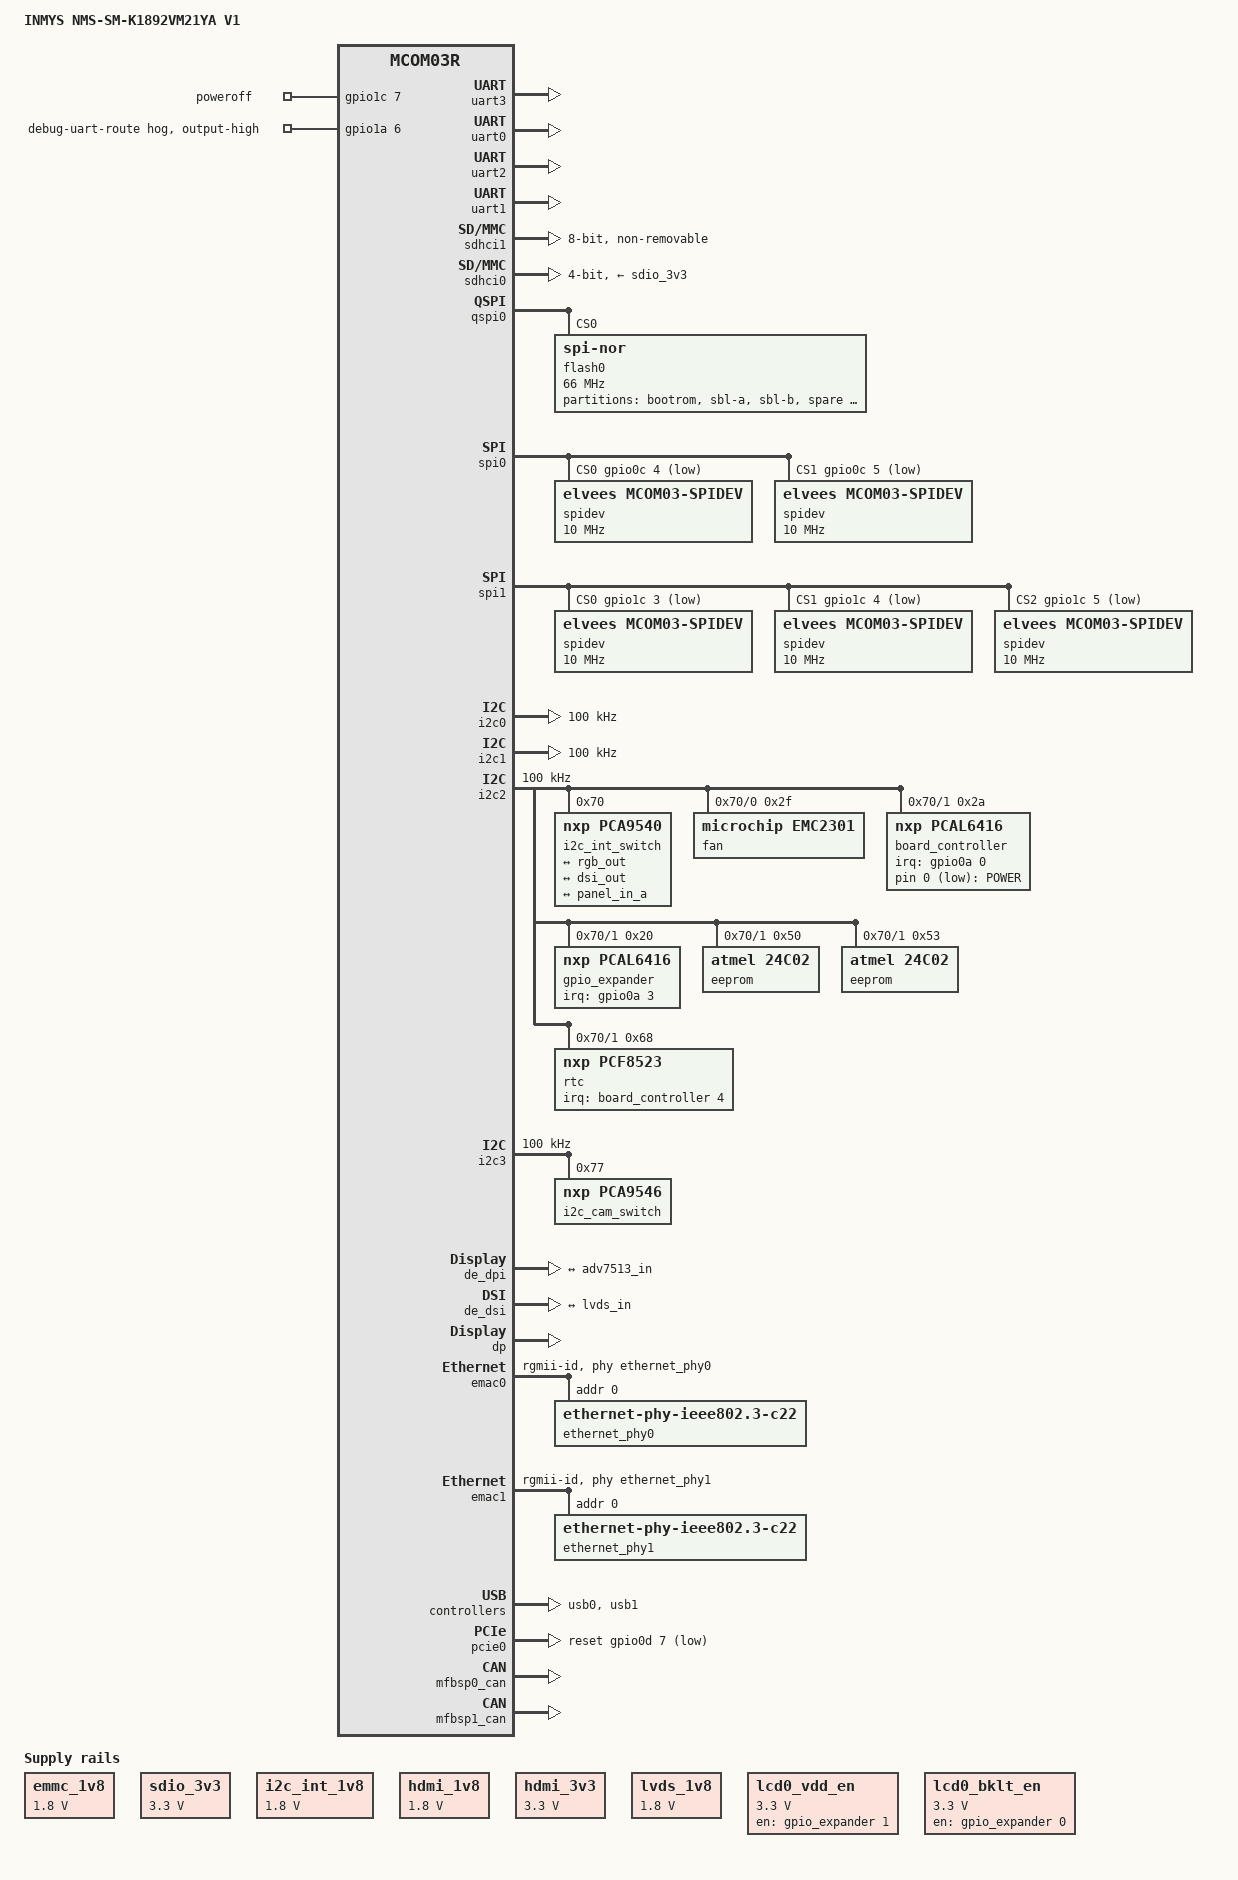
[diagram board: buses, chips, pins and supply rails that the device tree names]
// SPDX-License-Identifier: GPL-2.0+
/*
 * INMYS NMS-SM-K1892VM21YA V1
 * SMARC 2.1 module on ELVEES MCom-03R (К1892ВМ21Я)
 *
 * Module resources (see ../../../HARDWARE.md for the full map):
 *   SoC            К1892ВМ21Я (MCom-03R), BGA-1936
 *   LPDDR4         D27/D28 Rayson RS512M32LO4D1BDS-46IT, 2 x 2 GiB,
 *                  DDRMC0 (MEMA/MEMB) + DDRMC1 (MEMC/MEMD), 2133 MT/s
 *   eMMC           D20 Kioxia THGAMRG7T13BAIL 16 GiB  -> SDMMC1 (8 bit)
 *   SD/SDIO        SMARC SDIO (4 bit)                 -> SDMMC0
 *   QSPI boot      D21 W25Q128FWPIG 16 MiB            -> QSPI0
 *   RTC            D8  PCF8523TK                      -> I2C_INT_1V8
 *   GPIO expander  D34 PCAL6416AHF                    -> I2C_INT_1V8
 *   I2C mux        D30 PCA9540BGD (I2C_INT / I2C_INT_1V8)
 *                  D29 PCA9546ABS (CAM0 / CAM1 / LCD)
 *   Ethernet       D9A/D9B DAP8211RI (RGMII0/RGMII1, MDIO0/MDIO1)
 *   USB hub        D14 TUSB8041IRGCR  (USB0 -> 4 ports)
 *   USB-SATA       D16 TUSB9261IPVP   (USB1 -> SATA)
 *   HDMI           D19 ADV7513BSWZ    (parallel RGB from DPI)
 *   LVDS           D10 SN65DSI84ZQER  (DSI -> 2 x LVDS)
 *   Board ctrl     D41 STM32L052C8T6  (power/reset/bootsel sequencing)
 *
 * Copyright (C) 2026 INMYS
 */

#include <dt-bindings/gpio/gpio.h>
#include <dt-bindings/input/input.h>
#include <dt-bindings/interrupt-controller/irq.h>

#include "mcom03r.dtsi"

/*
 * Module assembly option (FAN.SchDoc):
 * 1: D35 EMC2301 fitted, R259/R261 fitted, R260/R262 omitted.
 * 0: D35 omitted, R259/R261 omitted, R260/R262 fitted: SoC PWM + GPIO tach.
 * Override before including this file, or change the default here.
 */
#ifndef NMS_FAN_USE_EMC2301
#define NMS_FAN_USE_EMC2301 1
#endif
#if NMS_FAN_USE_EMC2301 != 0 && NMS_FAN_USE_EMC2301 != 1
#error NMS_FAN_USE_EMC2301 must be 0 or 1
#endif

/* FAN OUTA0 and LCD0 OUTB0 share one counter in the current PCB revision. */
#define NMS_PWM0_PERIOD_NS 2000000 /* 500 Hz for both SoC outputs */
#if NMS_FAN_USE_EMC2301
#define NMS_LCD0_PWM_CHANNEL 0 /* legacy numbering, selects OUTB0 */
#else
#define NMS_LCD0_PWM_CHANNEL 4 /* dual-output numbering: OUTA0=0, OUTB0=4 */
#endif

/ {
	model = "INMYS NMS-SM-K1892VM21YA V1";
	compatible = "inmys,nms-sm-k1892vm21ya",
		     "inmys,nms-sm-k1892",
		     "elvees,mcom03r";

	/* STM32 debounces the button and suppresses a press held during startup. */
	power_keys: power-keys {
		compatible = "gpio-keys";
		label = "board-power";

		power-button {
			label = "POWER";
			gpios = <&board_controller 0 GPIO_ACTIVE_LOW>;
			linux,code = <KEY_POWER>;
			debounce-interval = <5>;
		};
	};

	aliases {
		i2c_pm = &i2c0;
		i2c_gp = &i2c1;
		i2c5 = &i2c_cam0;
		i2c6 = &i2c_cam1;
		i2c7 = &i2c_lcd;
		/* Keep the vendor's spi0/spi1 numbering for QSPI0/QSPI1. */
		spi2 = &spi0;
		spi3 = &spi1;
		mmc0 = &sdhci0;
		mmc1 = &sdhci1;
	};

#if !NMS_FAN_USE_EMC2301
	/* D2.BC15 -> R262 -> SMARC P113; tach P114 -> R260 -> D2.BA17. */
	fan: fan {
		compatible = "pwm-fan";
		pwms = <&pwm 0 NMS_PWM0_PERIOD_NS>;
		pinctrl-names = "default";
		pinctrl-0 = <&pwm_oena0_mux>;
		interrupt-parent = <&gpio1a>;
		interrupts = <7 IRQ_TYPE_EDGE_FALLING>;
		pulses-per-revolution = <2>;
	};
#endif

	/* PCB V1 rework: TP1 (STM32 PB10) wired to D2.AW19; R100 removed,
	 * R101 fitted. Request final poweroff directly, without TF-A changes.
	 */
	poweroff {
		compatible = "gpio-poweroff";
		gpios = <&gpio1c 7 GPIO_ACTIVE_HIGH>;
		priority = <192>;
		active-delay-ms = <100>;
		inactive-delay-ms = <100>;
		timeout-ms = <3000>;
	};

	/* eMMC is 1.8 V only on this module */
	emmc_1v8: regulator-emmc-1v8 {
		compatible = "regulator-fixed";
		regulator-name = "emmc-1v8";
		regulator-min-microvolt = <1800000>;
		regulator-max-microvolt = <1800000>;
		regulator-always-on;
	};

	/*
	 * Card VDD stays at 3.3 V. The separate I/O rail is switched by D18/VT4
	 * from the controller's SDMMC0_18EN output, not by this regulator.
	 */
	sdio_3v3: regulator-sdio-3v3 {
		compatible = "regulator-fixed";
		regulator-name = "sdio-3v3";
		regulator-min-microvolt = <3300000>;
		regulator-max-microvolt = <3300000>;
		regulator-always-on;
	};

	/* 1.8 V I2C_INT rail used by RTC, GPIO expander and video bridges */
	i2c_int_1v8: regulator-i2c-int-1v8 {
		compatible = "regulator-fixed";
		regulator-name = "i2c-int-1v8";
		regulator-min-microvolt = <1800000>;
		regulator-max-microvolt = <1800000>;
		regulator-always-on;
	};

	hdmi_1v8: regulator-hdmi-1v8 {
		compatible = "regulator-fixed";
		regulator-name = "hdmi-1v8";
		regulator-min-microvolt = <1800000>;
		regulator-max-microvolt = <1800000>;
		regulator-always-on;
	};

	hdmi_3v3: regulator-hdmi-3v3 {
		compatible = "regulator-fixed";
		regulator-name = "hdmi-3v3";
		regulator-min-microvolt = <3300000>;
		regulator-max-microvolt = <3300000>;
		regulator-always-on;
	};

	lvds_1v8: regulator-lvds-1v8 {
		compatible = "regulator-fixed";
		regulator-name = "lvds-1v8";
		regulator-min-microvolt = <1800000>;
		regulator-max-microvolt = <1800000>;
		regulator-always-on;
	};

	/*
	 * Module PCAL6416A P0_1/P0_0 drive SMARC LCD0_VDD_EN/LCD0_BKLT_EN.
	 * Panel/backlight consumers own these regulators; both default off.
	 */
	lcd0_vdd_en: regulator-lcd0-vdd {
		compatible = "regulator-fixed";
		regulator-name = "LCD0_VDD_EN";
		regulator-min-microvolt = <3300000>;
		regulator-max-microvolt = <3300000>;
		gpios = <&gpio_expander 1 GPIO_ACTIVE_HIGH>;
		enable-active-high;
	};

	lcd0_bklt_en: regulator-lcd0-bklt {
		compatible = "regulator-fixed";
		regulator-name = "LCD0_BKLT_EN";
		regulator-min-microvolt = <3300000>;
		regulator-max-microvolt = <3300000>;
		gpios = <&gpio_expander 0 GPIO_ACTIVE_HIGH>;
		enable-active-high;
	};

	/*
	 * Default single-link LVDS sink, enabled/configured by the carrier.
	 * Carriers override timing, dimensions and mapping for their panel;
	 * the tester supplies its own dual-link mode. Channel B needs port@3
	 * on the bridge and a second panel port (SMARC LVDS1, S108..S121).
	 */
	lvds_panel: panel-lvds {
		compatible = "panel-lvds";
		status = "disabled";
		width-mm = <231>;
		height-mm = <139>;
		data-mapping = "jeida-24";
		enable-delay-ms = <20>;
		prepare-delay-ms = <20>;
		unprepare-delay-ms = <20>;
		disable-delay-ms = <20>;

		panel-timing {
			clock-frequency = <33000000>;
			hactive = <800>;
			vactive = <480>;
			hfront-porch = <40>;
			hback-porch = <40>;
			hsync-len = <48>;
			vfront-porch = <13>;
			vback-porch = <29>;
			vsync-len = <3>;
			hsync-active = <1>;
			vsync-active = <1>;
			de-active = <1>;
			pixelclk-active = <0>;
		};

		ports {
			#address-cells = <1>;
			#size-cells = <0>;

			port@0 {
				reg = <0>;
				panel_in_a: endpoint {
					remote-endpoint = <&lvds_out_a>;
				};
			};
		};
	};

	/*
	 * HDMI audio.  The SoC I2S0 drives SCLK/WS/SDO0 (GPIO1_PORTB_0/1/2,
	 * balls BB18/BA18/BD18) into the ADV7513, which runs as an I2S slave;
	 * its MCLK, SPDIF and I2S1..3 inputs are tied to ground on the module.
	 */
	hdmi_sound: hdmi-sound {
		compatible = "simple-audio-card";
		simple-audio-card,name = "hdmi-audio";
		simple-audio-card,format = "i2s";
		simple-audio-card,bitclock-master = <&hdmi_dailink_master>;
		simple-audio-card,frame-master = <&hdmi_dailink_master>;
		status = "disabled";

		hdmi_dailink_master: simple-audio-card,cpu {
			sound-dai = <&i2s0>;
		};

		simple-audio-card,codec {
			sound-dai = <&adv7513>;
		};
	};
};

/*
 * SMARC SER0 = UART3, SER1_DBG = UART0 through D33, SER2 = UART2,
 * SER3 = UART1. UART_0_1_CROSS# (GPIO1_PORTA_6) defaults high, selecting
 * UART0 on SER1_DBG. Linux serial0/ttyS0 is the debug console.
 */
ser0: &uart3 {
	status = "okay";
};

ser1: &uart0 {
	status = "okay";
};

ser2: &uart2 {
	status = "okay";
};

ser3: &uart1 {
	status = "okay";
};

/* ------------------------------------------------------------------ */
/* Storage                                                            */
/* ------------------------------------------------------------------ */

/* eMMC D20 supports HS400; the SoC controller supports up to HS200. */
&sdhci1 {
	status = "okay";

	non-removable;
	bus-width = <8>;
	mmc-hs200-1_8v;
	vqmmc-supply = <&emmc_1v8>;
	/* 1125 MHz HSPERIPH PLL / 6; SDMMC0 and the shared PLL stay unchanged. */
	assigned-clocks = <&hsperiph_clocks CLK_HSP_UCG1_SDMMC1_XIN>;
	assigned-clock-rates = <187500000>;
	max-frequency = <187500000>;
};

/* SMARC SDIO: card power is 3.3 V, signal levels can switch to 1.8 V. */
&sdhci0 {
	status = "okay";

	bus-width = <4>;
	vmmc-supply = <&sdio_3v3>;
	/*
	 * No vqmmc-supply: SDHCI HOST_CONTROL2 controls SDMMC0_18EN directly.
	 * The SoC pad sequencer switches D18/VT4 and delays V18 pad mode until
	 * the I/O rail settles (URB.sdmmc0_padcfg.use_sw_v18 = 0).
	 */
	sd-uhs-sdr12;
	sd-uhs-sdr25;
	sd-uhs-sdr50;
	sd-uhs-sdr104;
	sd-uhs-ddr50;
	/*
	 * Dedicated SDMMC0_CDN (BB1) reaches SMARC SDIO_CD# (P35).
	 * Use hardware card detect; broken-cd would poll an empty slot.
	 */
};

/* Boot SPI flash (D21 W25Q128FWPIG, 16 MiB, 4 bit) */
&qspi0 {
	status = "okay";

	flash0: flash@0 {
		compatible = "jedec,spi-nor", "spi-flash";
		reg = <0x0>;
		spi-max-frequency = <66000000>;
		/* Silvaco's Linux driver implements single-lane SPI transfers. */
		spi-tx-bus-width = <1>;
		spi-rx-bus-width = <1>;
		m25p,fast-read;

		/*
		 * Layout used by the ELVEES boot chain (see the
		 * package.toml inside the SBL *.tl-image):
		 *
		 *   0x000000  BootROM SBIMG (sbl-s1 + ddrinit + sbl-s2)
		 *   0x200000  SBL image slot A (bl31 + u-boot + dtb + sbl-s3)
		 *   0x600000  SBL image slot B (update slot)
		 *   0xFE0000  U-Boot environment (CONFIG_ENV_OFFSET)
		 */
		partitions {
			compatible = "fixed-partitions";
			#address-cells = <1>;
			#size-cells = <1>;

			partition@0 {
				label = "bootrom";
				reg = <0x000000 0x200000>;
			};

			partition@200000 {
				label = "sbl-a";
				reg = <0x200000 0x400000>;
			};

			partition@600000 {
				label = "sbl-b";
				reg = <0x600000 0x400000>;
			};

			partition@a00000 {
				label = "spare";
				reg = <0xA00000 0x5E0000>;
			};

			partition@fe0000 {
				label = "uboot-env";
				reg = <0xFE0000 0x020000>;
			};
		};
	};
};

/* ------------------------------------------------------------------ */
/* SSI controllers: only chip selects actually routed on the module.  */
/* ------------------------------------------------------------------ */

/* SSI0 -> SMARC SPI0, CS0=P43 and CS1=P31. CS2/CS3 are unconnected. */
&spi0 {
	status = "okay";
	num-cs = <2>;
	cs-gpios = <&gpio0c 4 GPIO_ACTIVE_LOW>,
		   <&gpio0c 5 GPIO_ACTIVE_LOW>;

	spidev@0 {
		compatible = "elvees,mcom03-spidev";
		reg = <0>;
		spi-max-frequency = <10000000>;
	};

	spidev@1 {
		compatible = "elvees,mcom03-spidev";
		reg = <1>;
		spi-max-frequency = <10000000>;
	};
};

/* SSI1 -> D31/D32 crossbar. Drive QSPI_SPI# low with gpioset for SSI1.
 * CS3 shares GPIO0_CAM0_PWR# and must remain available to the camera.
 */
&spi1 {
	status = "okay";
	/* C7/SS_IN is the poweroff GPIO; SPI master uses data and CS0..2. */
	pinctrl-0 = <&spi1_mux_data &spi1_default_cfg>;
	num-cs = <3>;
	cs-gpios = <&gpio1c 3 GPIO_ACTIVE_LOW>,
		   <&gpio1c 4 GPIO_ACTIVE_LOW>,
		   <&gpio1c 5 GPIO_ACTIVE_LOW>;

	spidev@0 {
		compatible = "elvees,mcom03-spidev";
		reg = <0>;
		spi-max-frequency = <10000000>;
	};

	spidev@1 {
		compatible = "elvees,mcom03-spidev";
		reg = <1>;
		spi-max-frequency = <10000000>;
	};

	spidev@2 {
		compatible = "elvees,mcom03-spidev";
		reg = <2>;
		spi-max-frequency = <10000000>;
	};
};

&spi1_default_cfg {
	rxd-ss-in-n-pins {
		pins = "GPIOC_2";
	};
};

/* ------------------------------------------------------------------ */
/* I2C                                                                */
/* ------------------------------------------------------------------ */

/* SMARC I2C_PM (SoC I2C0) - power management bus, 3.3 V */
&i2c0 {
	status = "okay";
	clock-frequency = <100000>;
};

/* SMARC I2C_GP (SoC I2C1) - general purpose bus, 3.3 V */
&i2c1 {
	status = "okay";
	clock-frequency = <100000>;
};

/* SoC I2C2 -> PCA9540B (D30): I2C_INT (3.3 V) and I2C_INT_1V8 */
&i2c2 {
	status = "okay";
	clock-frequency = <100000>;

	i2c_int_switch: i2c-switch@70 {
		compatible = "nxp,pca9540";
		reg = <0x70>;
		#address-cells = <1>;
		#size-cells = <0>;

		/*
		 * Channel 0 (I2C_INT, 3.3 V).  Verified from the U-Boot
		 * prompt with `i2c mw 70 0.0 04` + `i2c probe`:
		 *   0x2f EMC2301 fan controller (D35)
		 *   0x44 TUSB8041 USB hub (D14), SMBus only, no driver
		 */
		i2c_int: i2c@0 {
			#address-cells = <1>;
			#size-cells = <0>;
			reg = <0>;

#if NMS_FAN_USE_EMC2301
			fan: fan@2f {
				compatible = "microchip,emc2301", "microchip,emc2305";
				reg = <0x2f>;
				#address-cells = <1>;
				#size-cells = <0>;
				#pwm-cells = <3>;
			};
#endif

			/* D14 TUSB8041 is in USB mode with R128 omitted: no SMBus
			 * cfgActive write is required before USB enumeration.
			 */
		};

		/*
		 * Channel 1 (I2C_INT_1V8, 1.8 V).  Verified with
		 * `i2c mw 70 0.0 05` + `i2c probe`:
		 *   0x20 PCAL6416A GPIO expander (D34)
		 *   0x2d SN65DSI84 DSI-LVDS bridge (D10)
		 *   0x38/0x39/0x3c/0x3e/0x3f ADV7513 HDMI (D19)
		 *   0x50/0x53 24AA025E48 MAC-address EEPROMs (D11/D12)
		 *   0x68 PCF8523 RTC (D8)
		 */
		i2c_int_1v8_bus: i2c@1 {
			#address-cells = <1>;
			#size-cells = <0>;
			reg = <1>;

			/* D41 firmware 0.9+: PCAL6416-compatible virtual GPIOs.
			 * V1 requires BC_INT -> FORCE_RECOV# / GPIO0_PORTA_0 wire.
			 * PB5 is now open drain, active low; EXTINT/QLIC is unused.
			 */
			board_controller: gpio@2a {
				compatible = "nxp,pcal6416";
				reg = <0x2a>;
				gpio-controller;
				#gpio-cells = <2>;
				/* SLEEP#/LID# share SWD: expose levels, no input consumers. */
				interrupt-controller;
				#interrupt-cells = <2>;
				interrupt-parent = <&gpio0a>;
				interrupts = <0 IRQ_TYPE_LEVEL_LOW>;
				gpio-line-names =
					"POWER_BTN#", "TEST#", "SLEEP#", "LID#",
					"RTC_INT#", "CHARGING#", "CHARGER_PRSNT#", "nINT_WOL0",
					"nINT_WOL1", "BATLOW#", "FAN_ALERT#", "PG_3V3",
					"RESET_IN#", "BC_RUNNING", "BC_POWER_OFF#", "BC_RESTART#";
			};

			gpio_expander: gpio@20 {
				compatible = "nxp,pcal6416";
				reg = <0x20>;
				gpio-controller;
				#gpio-cells = <2>;
				interrupt-controller;
				#interrupt-cells = <2>;
				interrupt-parent = <&gpio0a>;
				interrupts = <3 IRQ_TYPE_EDGE_FALLING>;

				gpio-line-names =
					"LCD0_BKLT_EN", "LCD0_VDD_EN",
					"LCD1_BKLT_EN", "LCD1_VDD_EN",
					"QSPI_SPI#", "BC_UART_SEL",
					"PCIE_SEL", "HDMI_INT#",
					"HDMI_PD", "RTC_32K",
					"ENABLE_LVDS", "USB1_ID0_GPIO",
					"BC_BOOT", "BC_RST",
					"CAM_SEL0", "CAM_SEL1";
			};

			/*
			 * D11/D12 24AA025E48 EUI-48 EEPROMs. Factory addresses at
			 * 0xfa..0xff provide nvmem fallback to U-Boot-supplied MACs.
			 */
			eeprom@50 {
				compatible = "atmel,24c02";
				reg = <0x50>;
				pagesize = <16>;
				#address-cells = <1>;
				#size-cells = <1>;

				mac0: mac-address@fa {
					reg = <0xfa 0x6>;
				};
			};

			eeprom@53 {
				compatible = "atmel,24c02";
				reg = <0x53>;
				pagesize = <16>;
				#address-cells = <1>;
				#size-cells = <1>;

				mac1: mac-address@fa {
					reg = <0xfa 0x6>;
				};
			};

			/* RTC D8 */
			rtc: rtc@68 {
				compatible = "nxp,pcf8523";
				reg = <0x68>;
				status = "okay";
				/* VDD=1V8, VBAT~3V: automatic switching disables I2C. */
				nxp,disable-battery-switchover;
				/* D8 INT# -> STM32 PA15 -> virtual GPIO 4. */
				interrupt-parent = <&board_controller>;
				interrupts = <4 IRQ_TYPE_LEVEL_LOW>;
				/* rtc-pcf8523 registers wake capability from its IRQ itself. */
			};

			/*
			 * HDMI transmitter D19 (parallel RGB in, HDMI out).
			 *
			 * Supplies, traced from the module netlist through the ferrite beads:
			 *   AVDD_HDMI   D19.15/19/25 <- L30 <- +1V8_MEDIA
			 *   HDMI_DVDD   D19.1/11/31/51 <- L29 <- +1V8_MEDIA
			 *   HDMI_PVDD   D19.12/13 <- L28 <- +1V8_MEDIA
			 *   HDMI_DVDD3V D19.29 <- L27 <- +3V3_CORE
			 * The driver gets all five regulators in bulk, so every one of them has
			 * to be named even though the rails themselves are always on.
			 */
			adv7513: hdmi@39 {
				compatible = "adi,adv7513";
				reg = <0x39>, <0x3f>;
				reg-names = "main", "edid";
				interrupt-parent = <&gpio_expander>;
				interrupts = <7 IRQ_TYPE_EDGE_FALLING>;
				/* This driver requires explicit RGB depth, clock mode and delay. */
				adi,input-depth = <8>;
				adi,input-colorspace = "rgb";
				adi,input-clock = "1x";
				adi,clock-delay = <0>;
				/*
				 * V1 PCB swaps the sync inputs: D2.A25 (HSYNC) -> D19.2
				 * (VSYNC), D2.C25 (VSYNC) -> D19.64 (HSYNC). DE is correct.
				 * Reconstruct both syncs from DE; requires the SDK driver patch.
				 */
				adi,sync-from-de;
				/* HDMI_PD is active high; the driver deasserts it to wake D19. */
				pd-gpios = <&gpio_expander 8 GPIO_ACTIVE_HIGH>;
				avdd-supply = <&hdmi_1v8>;
				dvdd-supply = <&hdmi_1v8>;
				pvdd-supply = <&hdmi_1v8>;
				dvdd-3v-supply = <&hdmi_3v3>;
				bgvdd-supply = <&hdmi_1v8>;
				#sound-dai-cells = <0>;
				status = "disabled"; /* enable in carrier DTS when HDMI is used */

				ports {
					#address-cells = <1>;
					#size-cells = <0>;

					port@0 {
						reg = <0>;
						adv7513_in: endpoint {
							remote-endpoint = <&rgb_out>;
						};
					};
				};
			};

			/*
			 * DSI -> dual LVDS bridge D10 (SN65DSI84).
			 *
			 * The I2C address is 0x2d, not 0x2c: R82 pulls DSI_LVDS_ADDR (D10.A1)
			 * up to +1V8_MEDIA.  A live `i2c probe` on I2C_INT_1V8 confirms 0x2d.
			 * ENABLE_LVDS is PCAL6416A P1_2, i.e. line 10 of the expander.
			 */
			lvds_bridge: lvds-bridge@2d {
				compatible = "ti,sn65dsi84";
				reg = <0x2d>;
				enable-gpios = <&gpio_expander 10 GPIO_ACTIVE_HIGH>;
				vcc-supply = <&lvds_1v8>;
				status = "disabled"; /* enable in carrier DTS when LVDS is used */

				ports {
					#address-cells = <1>;
					#size-cells = <0>;

					/* MIPI DSI channel A: all four lanes are wired */
					port@0 {
						reg = <0>;
						lvds_in: endpoint {
							remote-endpoint = <&dsi_out>;
							data-lanes = <1 2 3 4>;
						};
					};

					/* LVDS channel A -> panel */
					port@2 {
						reg = <2>;
						lvds_out_a: endpoint {
							remote-endpoint = <&panel_in_a>;
						};
					};
				};
			};
		};
	};
};

/* SoC I2C3 -> PCA9546A (D29): CAM0 / CAM1 / LCD */
&i2c3 {
	status = "okay";
	clock-frequency = <100000>;

	i2c_cam_switch: i2c-switch@77 {
		compatible = "nxp,pca9546";
		reg = <0x77>;
		#address-cells = <1>;
		#size-cells = <0>;

		i2c_cam0: i2c@0 {
			#address-cells = <1>;
			#size-cells = <0>;
			reg = <0>;
		};

		i2c_cam1: i2c@1 {
			#address-cells = <1>;
			#size-cells = <0>;
			reg = <1>;
		};

		i2c_lcd: i2c@2 {
			#address-cells = <1>;
			#size-cells = <0>;
			reg = <2>;
		};
	};
};

/* ------------------------------------------------------------------ */
/* Display: Mali-DP550 -> DPI/ADV7513 or DSI/SN65DSI84                  */
/* ------------------------------------------------------------------ */

/* Carriers select the active route by enabling/disabling its bridge/encoder. */
&de_dpi {
	status = "okay";

	/* Parallel RGB pads require cmos0_clk; repeat the inherited clock list. */
	clocks = <&media_clocks CLK_MEDIA_UCG1_DISP_PXL>,
		 <&media_clocks CLK_MEDIA_UCG0_SYSA>,
		 <&media_clocks CLK_MEDIA_UCG1_DISP_A>,
		 <&media_clocks CLK_MEDIA_UCG3_CMOS0>;
	clock-names = "pxlclk", "pclk", "disp_aclk", "cmos0_clk";

	ports {
		port@1 {
			reg = <1>;

			rgb_out: endpoint {
				remote-endpoint = <&adv7513_in>;
			};
		};
	};
};

&de_dsi {
	status = "okay";

	ports {
		port@1 {
			reg = <1>;

			dsi_out: endpoint {
				remote-endpoint = <&lvds_in>;
			};
		};
	};
};

&dp {
	status = "okay";
};

/* ------------------------------------------------------------------ */
/* Ethernet                                                           */
/* ------------------------------------------------------------------ */

/*
 * The PHYs (D9A/D9B, DAP8211) have their VDDIO on +1V8_AO and the RGMII
 * nets are pulled to the same rail, so the SoC's EMAC pads must drive and
 * sample at 1.8 V.  Without this the MAC transmits fine (the PHY still
 * sees 3.3 V as high) but receives nothing at all: every hardware RX
 * counter stays zero, because the PHY's 1.8 V levels never reach the
 * 3.3 V input threshold.  `emac_v18` sets EMAC_V18 (URB 0x140, bit 0).
 */
&hsperiph_pinctrl {
	pinctrl-0 = <&hsperiph_misc_default &emac_v18>;
};

/* D9A: RGMII0, MDIO0, PHY address 0 */
&emac0 {
	status = "okay";
	phy-mode = "rgmii-id";
	phy-handle = <&ethernet_phy0>;
	nvmem-cells = <&mac0>;
	nvmem-cell-names = "mac-address";

	ethernet_phy0: ethernet-phy@0 {
		compatible = "ethernet-phy-ieee802.3-c22";
		reg = <0x0>;
	};
};

/* D9B: RGMII1, MDIO1, PHY address 0 (separate MDIO bus) */
&emac1 {
	status = "okay";
	phy-mode = "rgmii-id";
	phy-handle = <&ethernet_phy1>;
	nvmem-cells = <&mac1>;
	nvmem-cell-names = "mac-address";

	ethernet_phy1: ethernet-phy@0 {
		compatible = "ethernet-phy-ieee802.3-c22";
		reg = <0x0>;
	};
};

/* ------------------------------------------------------------------ */
/* USB                                                                */
/* ------------------------------------------------------------------ */

/* USB0 -> TUSB8041 hub (D14) -> 4 downstream ports on the carrier */
&usb0 {
	status = "okay";
};

/* USB1 -> TUSB9261 USB-SATA bridge (D16) */
&usb1 {
	status = "okay";
};

/* ------------------------------------------------------------------ */
/* PCIe                                                               */
/* ------------------------------------------------------------------ */

/* PCIe0 is routed to the SMARC PCIe pins, PCIe1 to the second slot;
 * the actual root complex used is selected by PCIE_SEL (expander P0_6).
 */
&pcie0 {
	status = "okay";
	/* GPIO BA32 -> D22 -> SMARC PCIe A PERST#. H12 is a separate input. */
	reset-gpios = <&gpio0d 7 GPIO_ACTIVE_LOW>;
};

/*
 * Carrier profiles enable PCIe1 when the second link is routed.
 * Supported reworked modules have both reference clocks free-running;
 * the original CLKREQ-gated D5 assembly needed separate clock handling.
 */
&pcie1 {
	status = "disabled";
	/* GPIO AW33 -> D23/D24 -> SMARC PCIe B/C PERST#. */
	reset-gpios = <&gpio0d 6 GPIO_ACTIVE_LOW>;
};

/* ------------------------------------------------------------------ */
/* CAN (MFBSP)                                                        */
/* ------------------------------------------------------------------ */

&mfbsp0_can {
	status = "okay";
};

&mfbsp1_can {
	status = "okay";
};

/* ------------------------------------------------------------------ */
/* PWM (LCD backlight)                                                */
/* ------------------------------------------------------------------ */

/*
 * LCD0_BKLT_PWM: AW17 / GPIO1_PORTD_3 / PWM_OENB0.
 * LCD1_BKLT_PWM: AV19 / GPIO1_PORTD_4 / PWM_OENA1.
 * LCD0 carriers enable &pwm and select B using NMS_LCD0_PWM_CHANNEL.
 * Keep timers_pwm disabled: its PORTD_0/1 outputs do not reach backlight;
 * PORTD_1 is the SMARC camera reset. See PWM.md and FAN.md.
 */

#if !NMS_FAN_USE_EMC2301
/* Expose both A and B of each timer; channel 0 and 4 share their period. */
&pwm {
	status = "okay";
	elvees,dual-output;
};
#endif

/* ------------------------------------------------------------------ */
/* GPIO line names (SMARC naming)                                     */
/* ------------------------------------------------------------------ */

/*
 * The names below are taken from the module netlist, ball by ball, not
 * from the SMARC pin order -- the two differ for most of the SoC GPIOs.
 * They are what "gpiofind" resolves, so standard GPIO tools can drive
 * the board multiplexers without knowing any chip or line number.
 */

&gpio0a {
	/* V1 test wire shares SMARC FORCE_RECOV#; next PCB moves FORCE_RECOV# to A1. */
	gpio-line-names = "BC_INT#", "", "SER0_CTS", "I2C_GPIO_INT#",
		"GPIO11", "GPIO12", "", "SER0_RTS";
};

&gpio0b {
	gpio-line-names = "SER0_RX", "SER0_TX", "UART3_DE", "UART3_RE",
		"WDT_TIME_OUT#", "UART1_DBG_RX", "UART1_DBG_TX", "SER2_RX";
};

&gpio0c {
	gpio-line-names = "SPI0_SCK", "SPI0_MOSI", "SPI0_MISO", "SPI0_SS_IN",
		"SPI0_CS0", "SPI0_CS1", "", "";
};

&gpio0d {
	gpio-line-names = "SER2_TX", "GPIO10", "GPIO13", "I2C_PM_CK",
		"I2C_PM_DAT", "I2C0_SMBALERT", "PCIE1_PERST#", "PCIE0_PERST#";
};

&gpio1a {
	gpio-line-names = "I2C_GP_CK", "I2C_GP_DAT", "I2C2_SCL", "I2C2_SDA",
		"I2C3_SCL", "I2C3_SDA", "UART_0_1_CROSS#", "FAN_TACHIN";

	/* D33 must keep UART0 on SER1_DBG, including during STM32 ROM updates. */
	debug-uart-route-hog {
		gpio-hog;
		gpios = <6 GPIO_ACTIVE_HIGH>;
		output-high;
		line-name = "debug-uart-route";
	};

};

&gpio1b {
	gpio-line-names = "HDMI_I2S_SCLK", "HDMI_I2S_LRCLK", "HDMI_I2S_SDOUT",
		"", "GPIO1_CAM1_PWR#", "GPIO7", "UART0_DBG_TX", "UART0_DBG_RX";
};

&gpio1c {
	gpio-line-names = "SPI1_SCK", "SPI1_MOSI", "SPI1_MISO", "SPI1_CS0",
		"SPI1_CS1", "SPI1_CS2", "GPIO0_CAM0_PWR#", "SOC_POWEROFF_REQ";
};

&gpio1d {
	gpio-line-names = "GPIO2_CAM0_RST#", "GPIO3_CAM1_RST#", "FAN_PWMOUT",
		"LCD0_BKLT_PWM", "LCD1_BKLT_PWM", "GPIO8", "GPIO4_HDA_RST#",
		"GPIO9";
};
